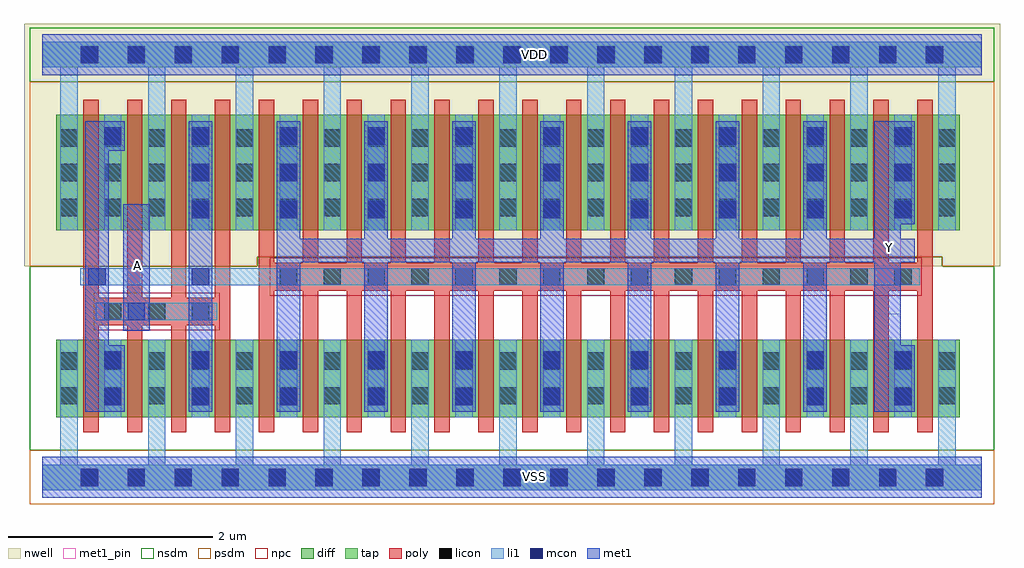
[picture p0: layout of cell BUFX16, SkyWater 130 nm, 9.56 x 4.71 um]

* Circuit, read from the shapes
.subckt BUFX16 A VDD VSS Y
XM1 n1 A VSS VSS sky130_fd_pr__nfet_01v8 w=0.76 l=0.15 m=4
XM2 Y n1 VSS VSS sky130_fd_pr__nfet_01v8 w=0.76 l=0.15 m=16
XM3 n1 A VDD VDD sky130_fd_pr__pfet_01v8 w=1.13 l=0.15 m=4
XM4 Y n1 VDD VDD sky130_fd_pr__pfet_01v8 w=1.13 l=0.15 m=16
.ends

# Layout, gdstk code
from math import pi, radians
import gdstk
lib = gdstk.Library(unit=1e-6, precision=1e-09)
def R(c, l, rs):  # rectangles x0, y0, x1, y1
    for r in rs: c.add(gdstk.rectangle(r[:2], r[2:], *l))
def A(c, l, x, y, w, h, nx, ny, dx, dy):  # array of equal rectangles
    R(c, l, [(x+i*dx, y+j*dy, x+i*dx+w, y+j*dy+h) for i in range(nx) for j in range(ny)])
def P(c, l, *ps):  # polygons
    for p in ps: c.add(gdstk.Polygon(p, *l))
nwell = (64, 20)
diff = (65, 20)
tap = (65, 44)
poly = (66, 20)
licon = (66, 44)
li1 = (67, 20)
mcon = (67, 44)
met1_pin = (68, 16)
met1 = (68, 20)
nsdm = (93, 44)
psdm = (94, 20)
npc = (95, 20)

nfet_01v8_cdns_716492285 = lib.new_cell('nfet_01v8_CDNS_71649228522215')
A(nfet_01v8_cdns_716492285, diff, 0, 0, 0.15, 0.76, 16, 1, 0.43, 0)
A(nfet_01v8_cdns_716492285, diff, 0.15, 0, 0.28, 0.76, 15, 1, 0.43, 0)
R(nfet_01v8_cdns_716492285, diff, [(-0.225,0,0,0.76), (6.6,0,6.865,0.76)])
A(nfet_01v8_cdns_716492285, poly, 0, -0.15, 0.15, 0.055, 16, 2, 0.43, 1.005)
A(nfet_01v8_cdns_716492285, poly, 0, -0.095, 0.15, 0.095, 16, 2, 0.43, 0.855)
A(nfet_01v8_cdns_716492285, poly, 0, 0, 0.15, 0.76, 16, 1, 0.43, 0)
A(nfet_01v8_cdns_716492285, licon, -0.225, 0.125, 0.17, 0.17, 17, 2, 0.43, 0.34)
A(nfet_01v8_cdns_716492285, li1, -0.225, 0, 0.17, 0.76, 17, 1, 0.43, 0)
R(nfet_01v8_cdns_716492285, nsdm, [(-0.235,-0.13,7.005,0.89)])

pfet_01v8_cdns_716492285 = lib.new_cell('pfet_01v8_CDNS_71649228522216')
R(pfet_01v8_cdns_716492285, nwell, [(-0.405,-0.18,7.045,1.31)])
A(pfet_01v8_cdns_716492285, diff, 0, 0, 0.15, 1.13, 16, 1, 0.43, 0)
A(pfet_01v8_cdns_716492285, diff, 0.15, 0, 0.28, 1.13, 15, 1, 0.43, 0)
R(pfet_01v8_cdns_716492285, diff, [(-0.225,0,0,1.13), (6.6,0,6.865,1.13)])
A(pfet_01v8_cdns_716492285, poly, 0, -0.15, 0.15, 0.055, 16, 2, 0.43, 1.375)
A(pfet_01v8_cdns_716492285, poly, 0, -0.095, 0.15, 0.095, 16, 2, 0.43, 1.225)
A(pfet_01v8_cdns_716492285, poly, 0, 0, 0.15, 1.13, 16, 1, 0.43, 0)
A(pfet_01v8_cdns_716492285, licon, -0.225, 0.14, 0.17, 0.17, 17, 3, 0.43, 0.34)
A(pfet_01v8_cdns_716492285, li1, -0.225, 0, 0.17, 1.13, 17, 1, 0.43, 0)
R(pfet_01v8_cdns_716492285, psdm, [(-0.235,-0.13,7.005,1.26)])

c_nfet_01v8_cdns_716492285 = lib.new_cell('nfet_01v8_CDNS_71649228522217')
A(c_nfet_01v8_cdns_716492285, diff, 0, 0, 0.15, 0.76, 4, 1, 0.43, 0)
A(c_nfet_01v8_cdns_716492285, diff, 0.15, 0, 0.28, 0.76, 3, 1, 0.43, 0)
R(c_nfet_01v8_cdns_716492285, diff, [(-0.265,0,0,0.76), (1.44,0,1.495,0.76)])
A(c_nfet_01v8_cdns_716492285, poly, 0, -0.15, 0.15, 0.055, 4, 2, 0.43, 1.005)
A(c_nfet_01v8_cdns_716492285, poly, 0, -0.095, 0.15, 0.095, 4, 2, 0.43, 0.855)
A(c_nfet_01v8_cdns_716492285, poly, 0, 0, 0.15, 0.76, 4, 1, 0.43, 0)
A(c_nfet_01v8_cdns_716492285, licon, -0.225, 0.125, 0.17, 0.17, 4, 2, 0.43, 0.34)
A(c_nfet_01v8_cdns_716492285, li1, -0.225, 0, 0.17, 0.76, 4, 1, 0.43, 0)
R(c_nfet_01v8_cdns_716492285, nsdm, [(-0.405,-0.13,1.505,0.89)])

c_pfet_01v8_cdns_716492285 = lib.new_cell('pfet_01v8_CDNS_71649228522218')
R(c_pfet_01v8_cdns_716492285, nwell, [(-0.445,-0.18,1.675,1.31)])
A(c_pfet_01v8_cdns_716492285, diff, 0, 0, 0.15, 1.13, 4, 1, 0.43, 0)
A(c_pfet_01v8_cdns_716492285, diff, 0.15, 0, 0.28, 1.13, 3, 1, 0.43, 0)
R(c_pfet_01v8_cdns_716492285, diff, [(-0.265,0,0,1.13), (1.44,0,1.495,1.13)])
A(c_pfet_01v8_cdns_716492285, poly, 0, -0.15, 0.15, 0.055, 4, 2, 0.43, 1.375)
A(c_pfet_01v8_cdns_716492285, poly, 0, -0.095, 0.15, 0.095, 4, 2, 0.43, 1.225)
A(c_pfet_01v8_cdns_716492285, poly, 0, 0, 0.15, 1.13, 4, 1, 0.43, 0)
A(c_pfet_01v8_cdns_716492285, licon, -0.225, 0.14, 0.17, 0.17, 4, 3, 0.43, 0.34)
A(c_pfet_01v8_cdns_716492285, li1, -0.225, 0, 0.17, 1.13, 4, 1, 0.43, 0)
R(c_pfet_01v8_cdns_716492285, psdm, [(-0.405,-0.13,1.505,1.26)])

l1m1_c_cdns_716492285222 = lib.new_cell('L1M1_C_CDNS_716492285222')
R(l1m1_c_cdns_716492285222, li1, [(-0.085,-0.165,0.085,0.165)])
R(l1m1_c_cdns_716492285222, mcon, [(-0.085,-0.085,0.085,0.085)])
R(l1m1_c_cdns_716492285222, met1, [(-0.115,-0.145,0.115,0.145)])

l1m1_c_cdns_716492285223 = lib.new_cell('L1M1_C_CDNS_716492285223')
R(l1m1_c_cdns_716492285223, li1, [(-0.165,-0.085,0.165,0.085)])
R(l1m1_c_cdns_716492285223, mcon, [(-0.085,-0.085,0.085,0.085)])
R(l1m1_c_cdns_716492285223, met1, [(-0.115,-0.145,0.115,0.145)])

l1m1_c_cdns_716492285225 = lib.new_cell('L1M1_C_CDNS_716492285225')
R(l1m1_c_cdns_716492285225, li1, [(-0.085,-0.345,0.085,0.345)])
R(l1m1_c_cdns_716492285225, mcon, [(-0.085,-0.265,0.085,-0.095), (-0.085,0.095,0.085,0.265)])
R(l1m1_c_cdns_716492285225, met1, [(-0.115,-0.325,0.115,0.325)])

l1m1_c_cdns_716492285224 = lib.new_cell('L1M1_C_CDNS_716492285224')
R(l1m1_c_cdns_716492285224, li1, [(-0.085,-0.525,0.085,0.525)])
A(l1m1_c_cdns_716492285224, mcon, -0.085, -0.445, 0.17, 0.17, 1, 3, 0, 0.36)
R(l1m1_c_cdns_716492285224, met1, [(-0.115,-0.505,0.115,0.505)])

pyl1con_c_cdns_716492285 = lib.new_cell('PYL1CON_C_CDNS_716492285220')
R(pyl1con_c_cdns_716492285, poly, [(-0.135,-0.165,0.135,0.165)])
R(pyl1con_c_cdns_716492285, licon, [(-0.085,-0.085,0.085,0.085)])
R(pyl1con_c_cdns_716492285, npc, [(-0.185,-0.185,0.185,0.185)])

bufx16 = lib.new_cell('BUFX16')
R(bufx16, nwell, [(-0.18,2.07,9.38,4.305), (-0.18,3.875,9.38,4.445)])
A(bufx16, licon, 0.375, -0.085, 0.17, 0.17, 19, 2, 0.46, 4.14)
A(bufx16, mcon, 0.375, -0.085, 0.17, 0.17, 19, 2, 0.46, 4.14)
R(bufx16, met1_pin, [(0.79,1.435,1.05,2.675), (8.15,1.6,8.41,2.84)])
R(bufx16, nsdm, [(-0.125,3.875,9.325,4.405), (-0.125,3.93,9.325,4.35)])
P(bufx16, nsdm, [(9.325,2.07),(8.815,2.07),(8.815,2.16),(2.105,2.16),(2.105,2.07),(-0.125,2.07),(-0.125,0.265),(9.325,0.265)])
R(bufx16, psdm, [(-0.125,-0.265,9.325,0.265), (-0.125,-0.21,9.325,0.21)])
P(bufx16, psdm, [(9.325,3.875),(-0.125,3.875),(-0.125,2.07),(2.105,2.07),(2.105,2.16),(8.815,2.16),(8.815,2.07),(9.325,2.07)])
R(bufx16, npc, [(0.505,1.44,1.735,1.81), (2.225,1.78,8.615,2.15)])
bufx16.add(gdstk.FlexPath([(8.645,2.42),(8.645,1.35)], 0.15, ends="flush", simple_path=True, layer=66, datatype=20))  # poly
bufx16.add(gdstk.FlexPath([(8.215,2.42),(8.215,1.35)], 0.15, ends="flush", simple_path=True, layer=66, datatype=20))  # poly
bufx16.add(gdstk.FlexPath([(7.785,2.42),(7.785,1.35)], 0.15, ends="flush", simple_path=True, layer=66, datatype=20))  # poly
bufx16.add(gdstk.FlexPath([(7.355,2.42),(7.355,1.35)], 0.15, ends="flush", simple_path=True, layer=66, datatype=20))  # poly
bufx16.add(gdstk.FlexPath([(6.925,2.42),(6.925,1.35)], 0.15, ends="flush", simple_path=True, layer=66, datatype=20))  # poly
bufx16.add(gdstk.FlexPath([(6.495,2.42),(6.495,1.35)], 0.15, ends="flush", simple_path=True, layer=66, datatype=20))  # poly
bufx16.add(gdstk.FlexPath([(0.475,2.42),(0.475,1.35)], 0.15, ends="flush", simple_path=True, layer=66, datatype=20))  # poly
bufx16.add(gdstk.FlexPath([(1.335,2.42),(1.335,1.35)], 0.15, ends="flush", simple_path=True, layer=66, datatype=20))  # poly
bufx16.add(gdstk.FlexPath([(2.195,2.42),(2.195,1.35)], 0.15, ends="flush", simple_path=True, layer=66, datatype=20))  # poly
bufx16.add(gdstk.FlexPath([(3.055,2.42),(3.055,1.35)], 0.15, ends="flush", simple_path=True, layer=66, datatype=20))  # poly
bufx16.add(gdstk.FlexPath([(3.915,2.42),(3.915,1.35)], 0.15, ends="flush", simple_path=True, layer=66, datatype=20))  # poly
bufx16.add(gdstk.FlexPath([(4.775,2.42),(4.775,1.35)], 0.15, ends="flush", simple_path=True, layer=66, datatype=20))  # poly
bufx16.add(gdstk.FlexPath([(5.635,2.42),(5.635,1.35)], 0.15, ends="flush", simple_path=True, layer=66, datatype=20))  # poly
bufx16.add(gdstk.FlexPath([(0.905,2.42),(0.905,1.35)], 0.15, ends="flush", simple_path=True, layer=66, datatype=20))  # poly
bufx16.add(gdstk.FlexPath([(1.765,2.42),(1.765,1.35)], 0.15, ends="flush", simple_path=True, layer=66, datatype=20))  # poly
bufx16.add(gdstk.FlexPath([(2.625,2.42),(2.625,1.35)], 0.15, ends="flush", simple_path=True, layer=66, datatype=20))  # poly
bufx16.add(gdstk.FlexPath([(3.485,2.42),(3.485,1.35)], 0.15, ends="flush", simple_path=True, layer=66, datatype=20))  # poly
bufx16.add(gdstk.FlexPath([(4.345,2.42),(4.345,1.35)], 0.15, ends="flush", simple_path=True, layer=66, datatype=20))  # poly
bufx16.add(gdstk.FlexPath([(5.205,2.42),(5.205,1.35)], 0.15, ends="flush", simple_path=True, layer=66, datatype=20))  # poly
bufx16.add(gdstk.FlexPath([(6.065,2.42),(6.065,1.35)], 0.15, ends="flush", simple_path=True, layer=66, datatype=20))  # poly
bufx16.add(gdstk.FlexPath([(0,0),(9.2,0)], 0.25, ends="flush", simple_path=True, layer=67, datatype=20))  # li1
bufx16.add(gdstk.FlexPath([(0,4.14),(9.2,4.14)], 0.25, ends="flush", simple_path=True, layer=67, datatype=20))  # li1
bufx16.add(gdstk.FlexPath([(6.28,-0.125),(6.28,0.59)], 0.17, ends="flush", simple_path=True, layer=67, datatype=20))  # li1
bufx16.add(gdstk.FlexPath([(5.42,-0.125),(5.42,0.59)], 0.17, ends="flush", simple_path=True, layer=67, datatype=20))  # li1
bufx16.add(gdstk.FlexPath([(4.56,-0.125),(4.56,0.59)], 0.17, ends="flush", simple_path=True, layer=67, datatype=20))  # li1
bufx16.add(gdstk.FlexPath([(3.7,-0.125),(3.7,0.59)], 0.17, ends="flush", simple_path=True, layer=67, datatype=20))  # li1
bufx16.add(gdstk.FlexPath([(2.84,-0.125),(2.84,0.59)], 0.17, ends="flush", simple_path=True, layer=67, datatype=20))  # li1
bufx16.add(gdstk.FlexPath([(1.98,-0.125),(1.98,0.59)], 0.17, ends="flush", simple_path=True, layer=67, datatype=20))  # li1
bufx16.add(gdstk.FlexPath([(1.12,-0.125),(1.12,0.59)], 0.17, ends="flush", simple_path=True, layer=67, datatype=20))  # li1
bufx16.add(gdstk.FlexPath([(0.26,-0.125),(0.26,0.59)], 0.17, ends="flush", simple_path=True, layer=67, datatype=20))  # li1
bufx16.add(gdstk.FlexPath([(8.86,3.55),(8.86,4.265)], 0.17, ends="flush", simple_path=True, layer=67, datatype=20))  # li1
bufx16.add(gdstk.FlexPath([(8,3.55),(8,4.265)], 0.17, ends="flush", simple_path=True, layer=67, datatype=20))  # li1
bufx16.add(gdstk.FlexPath([(7.14,3.55),(7.14,4.265)], 0.17, ends="flush", simple_path=True, layer=67, datatype=20))  # li1
bufx16.add(gdstk.FlexPath([(6.28,3.55),(6.28,4.265)], 0.17, ends="flush", simple_path=True, layer=67, datatype=20))  # li1
bufx16.add(gdstk.FlexPath([(5.42,3.55),(5.42,4.265)], 0.17, ends="flush", simple_path=True, layer=67, datatype=20))  # li1
bufx16.add(gdstk.FlexPath([(4.56,3.55),(4.56,4.265)], 0.17, ends="flush", simple_path=True, layer=67, datatype=20))  # li1
bufx16.add(gdstk.FlexPath([(3.7,3.55),(3.7,4.265)], 0.17, ends="flush", simple_path=True, layer=67, datatype=20))  # li1
bufx16.add(gdstk.FlexPath([(2.84,3.55),(2.84,4.265)], 0.17, ends="flush", simple_path=True, layer=67, datatype=20))  # li1
bufx16.add(gdstk.FlexPath([(1.98,3.55),(1.98,4.265)], 0.17, ends="flush", simple_path=True, layer=67, datatype=20))  # li1
bufx16.add(gdstk.FlexPath([(1.12,3.55),(1.12,4.265)], 0.17, ends="flush", simple_path=True, layer=67, datatype=20))  # li1
bufx16.add(gdstk.FlexPath([(0.26,3.55),(0.26,4.265)], 0.17, ends="flush", simple_path=True, layer=67, datatype=20))  # li1
bufx16.add(gdstk.FlexPath([(7.14,-0.125),(7.14,0.59)], 0.17, ends="flush", simple_path=True, layer=67, datatype=20))  # li1
bufx16.add(gdstk.FlexPath([(8,-0.125),(8,0.59)], 0.17, ends="flush", simple_path=True, layer=67, datatype=20))  # li1
bufx16.add(gdstk.FlexPath([(0.525,1.625),(1.715,1.625)], 0.17, ends="flush", simple_path=True, layer=67, datatype=20))  # li1
bufx16.add(gdstk.FlexPath([(8.86,-0.125),(8.86,0.59)], 0.17, ends="flush", simple_path=True, layer=67, datatype=20))  # li1
bufx16.add(gdstk.FlexPath([(0.525,1.965),(8.595,1.965)], 0.17, ends="flush", simple_path=True, layer=67, datatype=20))  # li1
bufx16.add(gdstk.FlexPath([(0,4.14),(9.2,4.14)], 0.4, ends="flush", simple_path=True, layer=68, datatype=20))  # met1
bufx16.add(gdstk.FlexPath([(0,0),(9.2,0)], 0.4, ends="flush", simple_path=True, layer=68, datatype=20))  # met1
bufx16.add(gdstk.FlexPath([(8.28,3.49),(8.28,0.645)], 0.26, ends="flush", simple_path=True, layer=68, datatype=20))  # met1
bufx16.add(gdstk.FlexPath([(0.92,2.675),(0.92,1.435)], 0.26, ends="flush", simple_path=True, layer=68, datatype=20))  # met1
bufx16.add(gdstk.FlexPath([(3.27,0.645),(3.27,3.49)], 0.23, ends="flush", simple_path=True, layer=68, datatype=20))  # met1
bufx16.add(gdstk.FlexPath([(6.71,0.645),(6.71,3.49)], 0.23, ends="flush", simple_path=True, layer=68, datatype=20))  # met1
bufx16.add(gdstk.FlexPath([(1.55,0.645),(1.55,3.49)], 0.23, ends="flush", simple_path=True, layer=68, datatype=20))  # met1
bufx16.add(gdstk.FlexPath([(0.535,0.645),(0.535,3.49)], 0.23, ends="flush", simple_path=True, layer=68, datatype=20))  # met1
bufx16.add(gdstk.FlexPath([(4.99,0.645),(4.99,3.49)], 0.23, ends="flush", simple_path=True, layer=68, datatype=20))  # met1
bufx16.add(gdstk.FlexPath([(5.85,0.645),(5.85,3.49)], 0.23, ends="flush", simple_path=True, layer=68, datatype=20))  # met1
bufx16.add(gdstk.FlexPath([(2.295,2.22),(8.545,2.22)], 0.23, ends="flush", simple_path=True, layer=68, datatype=20))  # met1
bufx16.add(gdstk.FlexPath([(4.13,0.645),(4.13,3.49)], 0.23, ends="flush", simple_path=True, layer=68, datatype=20))  # met1
bufx16.add(gdstk.FlexPath([(2.41,0.645),(2.41,3.49)], 0.23, ends="flush", simple_path=True, layer=68, datatype=20))  # met1
bufx16.add(gdstk.FlexPath([(7.57,0.645),(7.57,3.49)], 0.23, ends="flush", simple_path=True, layer=68, datatype=20))  # met1
bufx16.add(gdstk.FlexPath([(0,4.14),(9.2,4.14)], 0.4, ends="flush", simple_path=True, layer=68, datatype=16))  # met1_pin
bufx16.add(gdstk.FlexPath([(0,0),(9.2,0)], 0.4, ends="flush", simple_path=True, layer=68, datatype=16))  # met1_pin
bufx16.add(gdstk.FlexPath([(0,4.14),(9.2,4.14)], 0.25, ends="flush", simple_path=True, layer=65, datatype=44))  # tap
bufx16.add(gdstk.FlexPath([(0,0),(9.2,0)], 0.25, ends="flush", simple_path=True, layer=65, datatype=44))  # tap
bufx16.add(gdstk.Reference(nfet_01v8_cdns_716492285, (2.12,0.59)))
bufx16.add(gdstk.Reference(pfet_01v8_cdns_716492285, (2.12,2.42)))
bufx16.add(gdstk.Reference(c_nfet_01v8_cdns_716492285, (0.4,0.59)))
bufx16.add(gdstk.Reference(c_pfet_01v8_cdns_716492285, (0.4,2.42)))
bufx16.add(gdstk.Reference(l1m1_c_cdns_716492285222, (0.69,3.345)))
bufx16.add(gdstk.Reference(l1m1_c_cdns_716492285223, (0.92,1.625)))
bufx16.add(gdstk.Reference(l1m1_c_cdns_716492285223, (0.535,1.965)))
bufx16.add(gdstk.Reference(l1m1_c_cdns_716492285223, (1.55,1.965)))
bufx16.add(gdstk.Reference(l1m1_c_cdns_716492285225, (7.57,0.97)))
bufx16.add(gdstk.Reference(l1m1_c_cdns_716492285225, (8.43,0.97)))
bufx16.add(gdstk.Reference(l1m1_c_cdns_716492285225, (3.27,0.97)))
bufx16.add(gdstk.Reference(l1m1_c_cdns_716492285225, (2.41,0.97)))
bufx16.add(gdstk.Reference(l1m1_c_cdns_716492285225, (6.71,0.97)))
bufx16.add(gdstk.Reference(l1m1_c_cdns_716492285225, (5.85,0.97)))
bufx16.add(gdstk.Reference(l1m1_c_cdns_716492285225, (1.55,0.97)))
bufx16.add(gdstk.Reference(l1m1_c_cdns_716492285225, (4.13,0.97)))
bufx16.add(gdstk.Reference(l1m1_c_cdns_716492285225, (4.99,0.97)))
bufx16.add(gdstk.Reference(l1m1_c_cdns_716492285225, (0.69,0.97)))
bufx16.add(gdstk.Reference(l1m1_c_cdns_716492285224, (4.13,2.985)))
bufx16.add(gdstk.Reference(l1m1_c_cdns_716492285224, (4.99,2.985)))
bufx16.add(gdstk.Reference(l1m1_c_cdns_716492285224, (8.43,2.985)))
bufx16.add(gdstk.Reference(l1m1_c_cdns_716492285224, (3.27,2.985)))
bufx16.add(gdstk.Reference(l1m1_c_cdns_716492285224, (2.41,2.985)))
bufx16.add(gdstk.Reference(l1m1_c_cdns_716492285224, (7.57,2.985)))
bufx16.add(gdstk.Reference(l1m1_c_cdns_716492285224, (5.85,2.985)))
bufx16.add(gdstk.Reference(l1m1_c_cdns_716492285224, (1.55,2.985)))
bufx16.add(gdstk.Reference(l1m1_c_cdns_716492285224, (6.71,2.985)))
bufx16.add(gdstk.Reference(pyl1con_c_cdns_716492285, (0.69,1.625), rotation=3*pi/2, x_reflection=True))
bufx16.add(gdstk.Reference(pyl1con_c_cdns_716492285, (1.12,1.625), rotation=3*pi/2, x_reflection=True))
bufx16.add(gdstk.Reference(pyl1con_c_cdns_716492285, (2.41,1.965), rotation=3*pi/2, x_reflection=True))
bufx16.add(gdstk.Reference(pyl1con_c_cdns_716492285, (2.84,1.965), rotation=3*pi/2, x_reflection=True))
bufx16.add(gdstk.Reference(pyl1con_c_cdns_716492285, (3.27,1.965), rotation=3*pi/2, x_reflection=True))
bufx16.add(gdstk.Reference(pyl1con_c_cdns_716492285, (3.7,1.965), rotation=3*pi/2, x_reflection=True))
bufx16.add(gdstk.Reference(pyl1con_c_cdns_716492285, (4.13,1.965), rotation=3*pi/2, x_reflection=True))
bufx16.add(gdstk.Reference(pyl1con_c_cdns_716492285, (4.56,1.965), rotation=3*pi/2, x_reflection=True))
bufx16.add(gdstk.Reference(pyl1con_c_cdns_716492285, (4.99,1.965), rotation=3*pi/2, x_reflection=True))
bufx16.add(gdstk.Reference(pyl1con_c_cdns_716492285, (5.42,1.965), rotation=3*pi/2, x_reflection=True))
bufx16.add(gdstk.Reference(pyl1con_c_cdns_716492285, (5.85,1.965), rotation=3*pi/2, x_reflection=True))
bufx16.add(gdstk.Reference(pyl1con_c_cdns_716492285, (6.28,1.965), rotation=3*pi/2, x_reflection=True))
bufx16.add(gdstk.Reference(pyl1con_c_cdns_716492285, (6.71,1.965), rotation=3*pi/2, x_reflection=True))
bufx16.add(gdstk.Reference(pyl1con_c_cdns_716492285, (7.57,1.965), rotation=3*pi/2, x_reflection=True))
bufx16.add(gdstk.Reference(pyl1con_c_cdns_716492285, (8,1.965), rotation=3*pi/2, x_reflection=True))
bufx16.add(gdstk.Reference(pyl1con_c_cdns_716492285, (8.43,1.965), rotation=3*pi/2, x_reflection=True))
bufx16.add(gdstk.Reference(pyl1con_c_cdns_716492285, (7.14,1.965), rotation=3*pi/2, x_reflection=True))
bufx16.add(gdstk.Reference(pyl1con_c_cdns_716492285, (1.55,1.625), rotation=3*pi/2, x_reflection=True))
bufx16.add(gdstk.Label('VDD', (4.825,4.145), layer=68, texttype=5))
bufx16.add(gdstk.Label('Y', (8.295,2.25), layer=68, texttype=5))
bufx16.add(gdstk.Label('A', (0.935,2.075), layer=68, texttype=5))
bufx16.add(gdstk.Label('VSS', (4.825,0.005), layer=68, texttype=5))

lib.write_gds('BUFX16.gds')
